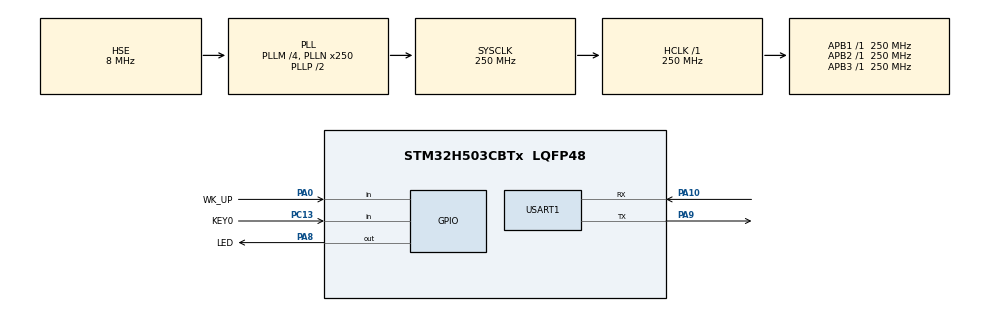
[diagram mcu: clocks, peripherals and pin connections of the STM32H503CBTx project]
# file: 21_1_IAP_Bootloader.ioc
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BOOTPATH.BootPathName=LEGACY
BOOTPATH.UserSelectedBootPath=LEGACY
Mcu.Family=STM32H5
Mcu.Name=STM32H503CBTx
Mcu.Package=LQFP48
NVIC.PriorityGroup=NVIC_PRIORITYGROUP_2
NVIC.USART1_IRQn=true\:2\:2\:true\:false\:true\:true\:true\:true
PA0.GPIO_Label=WK_UP
PA0.GPIO_PuPd=GPIO_PULLDOWN
PA0.Signal=GPIO_Input
PA10.GPIO_ModeDefaultPP=GPIO_MODE_AF_PP
PA10.GPIO_PuPd=GPIO_PULLDOWN
PA10.GPIO_Speed=GPIO_SPEED_FREQ_HIGH
PA10.Mode=Asynchronous
PA10.Signal=USART1_RX
PA8.GPIO_Label=LED
PA8.GPIO_ModeDefaultOutputPP=GPIO_MODE_OUTPUT_PP
PA8.GPIO_PuPd=GPIO_PULLUP
PA8.PinState=GPIO_PIN_SET
PA8.Signal=GPIO_Output
PA9.GPIO_Speed=GPIO_SPEED_FREQ_HIGH
PA9.Mode=Asynchronous
PA9.Signal=USART1_TX
PC13.GPIO_Label=KEY0
PC13.GPIO_PuPd=GPIO_PULLDOWN
PC13.Signal=GPIO_Input
PC14-OSC32_IN(OSC32_IN).Mode=LSE-External-Oscillator
PC14-OSC32_IN(OSC32_IN).Signal=RCC_OSC32_IN
PC15-OSC32_OUT(OSC32_OUT).Mode=LSE-External-Oscillator
PC15-OSC32_OUT(OSC32_OUT).Signal=RCC_OSC32_OUT
PH0-OSC_IN(PH0).Mode=HSE-External-Oscillator
PH0-OSC_IN(PH0).Signal=RCC_OSC_IN
PH1-OSC_OUT(PH1).Mode=HSE-External-Oscillator
PH1-OSC_OUT(PH1).Signal=RCC_OSC_OUT
ProjectManager.HeapSize=0x200
ProjectManager.StackSize=0x400
ProjectManager.TargetToolchain=STM32CubeIDE
RCC.ADCFreq_Value=250000000
RCC.AHBFreq_Value=250000000
RCC.APB1Freq_Value=250000000
RCC.APB1TimFreq_Value=250000000
RCC.APB2Freq_Value=250000000
RCC.APB2TimFreq_Value=250000000
RCC.APB3Freq_Value=250000000
RCC.CSI_VALUE=4000000
RCC.CortexFreq_Value=250000000
RCC.EPOD_VALUE=8000000
RCC.HCLKFreq_Value=250000000
RCC.HSE_VALUE=8000000
RCC.HSI48_VALUE=48000000
RCC.HSI_VALUE=64000000
RCC.LSIRC_VALUE=32000
RCC.PLLM=4
RCC.PLLN=250
RCC.PLLSourceVirtual=RCC_PLL1_SOURCE_HSE
RCC.SYSCLKFreq_VALUE=250000000
RCC.SYSCLKSource=RCC_SYSCLKSOURCE_PLLCLK
RCC.USBFreq_Value=48000000
RCC.VCOOutputFreq_Value=500000000
USART1.VirtualMode=VM_ASYNC
VP_BOOTPATH_VS_BOOTPATH.Mode=BP_Activate
VP_ICACHE_VS_ICACHE.Mode=DefaultMode
VP_MEMORYMAP_VS_MEMORYMAP.Mode=CurAppReg
VP_PWR_VS_DBSignals.Mode=DisableDeadBatterySignals
VP_PWR_VS_LPOM.Mode=PowerOptimisation
VP_PWR_VS_SECSignals.Mode=Security/Privilege
board=custom

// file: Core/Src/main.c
/**
 ****************************************************************************************************
 * @file        main.c
 * @author      ALIENTEK
 * @brief       IAP BootLoader code
 * @license     Copyright (C) 2012-2024, ALIENTEK
 ****************************************************************************************************
 * @attention
 *
 * platform     : ALIENTEK M48-STM32H503 board
 * website      : www.alientek.com
 * forum        : www.openedv.com/forum.php
 *
 * change logs  ：
 * version      data         notes
 * V1.0         20240309     the first version
 *
 ****************************************************************************************************
 */

/* USER CODE BEGIN Header */

/* USER CODE END Header */
#include "main.h"
#include "icache.h"
#include "memorymap.h"
#include "usart.h"
#include "gpio.h"

/* USER CODE BEGIN Includes */
#include "../../BSP/LED/led.h"
#include "../../BSP/KEY/key.h"
#include "../../ATK_Middlewares/IAP/iap.h"
#include "../../BSP/STMFLASH/stmflash.h"
/* USER CODE END Includes */

/* USER CODE BEGIN PV */
extern uint32_t g_usart_rx_cnt;
/* USER CODE END PV */

void SystemClock_Config(void);
/* USER CODE BEGIN PFP */
extern void iap_load_app(uint32_t appxaddr);
extern void iap_write_appbin(uint32_t appxaddr,uint8_t *appbuf,uint32_t applen);
/* USER CODE END PFP */

/* USER CODE BEGIN 0 */
/**
 * @brief   Displays information about the experiment
 * @param   None
 * @retval  None
 */
void stm32h503cb_show_mesg(void)
{
	/* The serial port outputs the experimental information */
	printf("\n");
	printf("********************************\r\n");
	printf("STM32H503\r\n");
    printf("IAP Test\r\n");
    printf("ATOM@ALIENTEK\r\n");
    printf("KEY0:Starting firmware update\r\n");
    printf("WKUP:Start executing FLASH user code\r\n");
	printf("********************************\r\n");
	printf("\r\n");
}
/* USER CODE END 0 */

int main(void)
{
  /* USER CODE BEGIN 1 */
  uint32_t lastcount = 0;      /* The old serial port receives data values */
  uint32_t applenth = 0;       /* Received app code size */
  uint8_t clearflag = 0;
  uint8_t t = 0;
  uint8_t key;
  /* USER CODE END 1 */

  /* MCU Configuration--------------------------------------------------------*/

  /* Reset of all peripherals, Initializes the Flash interface and the Systick. */
  HAL_Init();

  /* Configure the system clock */
  SystemClock_Config();

  /* Initialize all configured peripherals */
  MX_GPIO_Init();
  MX_ICACHE_Init();
  MX_USART1_UART_Init();
  /* USER CODE BEGIN 2 */
  stm32h503cb_show_mesg();
  /* USER CODE END 2 */

  /* Infinite loop */
  /* USER CODE BEGIN WHILE */
  while (1)
  {
      if (g_usart_rx_cnt)
      {
          if (lastcount == g_usart_rx_cnt)
          /* In the new cycle, if no data is received, the data reception is considered complete */
          {
              applenth = g_usart_rx_cnt;
              lastcount = 0;
              g_usart_rx_cnt = 0;
              printf("User program reception complete!\r\n");
              printf("code length:%dBytes\r\n", (int)applenth);
          }
          else
          {
              lastcount = g_usart_rx_cnt;
          }
      }

      t++;
      key = key_scan(0);

      switch (key)
      {
          case KEY0_PRES:          /* Write the bin data of the received APP to Flash */
          {
              if (applenth != 0)
              {
                  printf("Start updating firmware...\r\n");
                  printf("Copying APP2FLASH...\r\n");

                  if (((*(volatile uint32_t *)(0x20002000 + 4)) & 0xFF000000) == 0x08000000)
                  {
                      iap_write_appbin(FLASH_APP1_ADDR, g_usart_rx_buf, applenth);
                      printf("Copy APP Successed!!\r\n");
                      printf("Firmware update complete!\r\n");
                  }
                  else
                  {
                      printf("Illegal FLASH APP!  \r\n");
                      printf("Non-flash apps!\r\n");
                  }
              }
              else
              {
                  printf("No firmware to update!\r\n");
                  printf("No APP!\r\n");
              }
              clearflag = 7;
              break;
          }
          case WKUP_PRES:          /* Run the APP in Flash */
          {
              printf("flash addr :%x \r\n",(*(unsigned int *)(FLASH_APP1_ADDR + 4)) & 0xFF000000);

              if (((*(volatile uint32_t *)(FLASH_APP1_ADDR + 4)) & 0xFF000000) == 0x08000000)
              {
                  printf("Start executing FLASH user code!\r\n\r\n");

                  HAL_NVIC_DisableIRQ(USART1_IRQn);
                  HAL_Delay(10);
                  iap_load_app(FLASH_APP1_ADDR);
              }
              else
              {
                  printf("No firmware to run!\r\n");
                  printf("No APP!\r\n");
              }
              clearflag = 7;
              break;
          }
          default:
          {
              break;
          }
      }

      if (t == 10)
      {
          LED_TOGGLE();
          if (clearflag != 0)
          {
              clearflag--;

              if (clearflag == 0)
              {
              }
          }
          t = 0;
      }

      HAL_Delay(100);
    /* USER CODE END WHILE */

  }
}

void SystemClock_Config(void)
{
  RCC_OscInitTypeDef RCC_OscInitStruct = {0};
  RCC_ClkInitTypeDef RCC_ClkInitStruct = {0};

  /** Configure the main internal regulator output voltage
  */
  __HAL_PWR_VOLTAGESCALING_CONFIG(PWR_REGULATOR_VOLTAGE_SCALE0);

  while(!__HAL_PWR_GET_FLAG(PWR_FLAG_VOSRDY)) {}

  /** Initializes the RCC Oscillators according to the specified parameters
  * in the RCC_OscInitTypeDef structure.
  */
  RCC_OscInitStruct.OscillatorType = RCC_OSCILLATORTYPE_HSE;
  RCC_OscInitStruct.HSEState = RCC_HSE_ON;
  RCC_OscInitStruct.PLL.PLLState = RCC_PLL_ON;
  RCC_OscInitStruct.PLL.PLLSource = RCC_PLL1_SOURCE_HSE;
  RCC_OscInitStruct.PLL.PLLM = 4;
  RCC_OscInitStruct.PLL.PLLN = 250;
  RCC_OscInitStruct.PLL.PLLP = 2;
  RCC_OscInitStruct.PLL.PLLQ = 2;
  RCC_OscInitStruct.PLL.PLLR = 2;
  RCC_OscInitStruct.PLL.PLLRGE = RCC_PLL1_VCIRANGE_1;
  RCC_OscInitStruct.PLL.PLLVCOSEL = RCC_PLL1_VCORANGE_WIDE;
  RCC_OscInitStruct.PLL.PLLFRACN = 0;
  if (HAL_RCC_OscConfig(&RCC_OscInitStruct) != HAL_OK)
  {
    Error_Handler();
  }

  /** Initializes the CPU, AHB and APB buses clocks
  */
  RCC_ClkInitStruct.ClockType = RCC_CLOCKTYPE_HCLK|RCC_CLOCKTYPE_SYSCLK
                              |RCC_CLOCKTYPE_PCLK1|RCC_CLOCKTYPE_PCLK2
                              |RCC_CLOCKTYPE_PCLK3;
  RCC_ClkInitStruct.SYSCLKSource = RCC_SYSCLKSOURCE_PLLCLK;
  RCC_ClkInitStruct.AHBCLKDivider = RCC_SYSCLK_DIV1;
  RCC_ClkInitStruct.APB1CLKDivider = RCC_HCLK_DIV1;
  RCC_ClkInitStruct.APB2CLKDivider = RCC_HCLK_DIV1;
  RCC_ClkInitStruct.APB3CLKDivider = RCC_HCLK_DIV1;

  if (HAL_RCC_ClockConfig(&RCC_ClkInitStruct, FLASH_LATENCY_5) != HAL_OK)
  {
    Error_Handler();
  }
}

void Error_Handler(void)
{
  __disable_irq();
  while (1)
  {
  }
}
